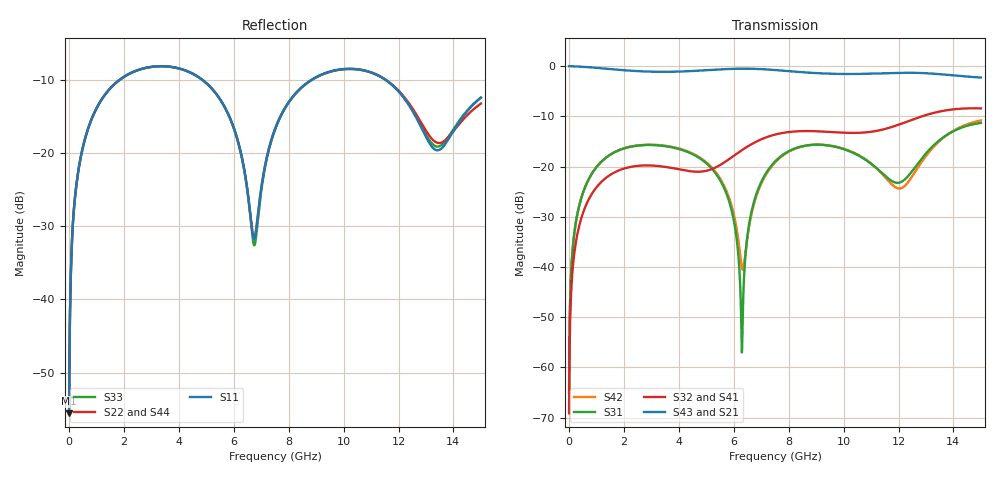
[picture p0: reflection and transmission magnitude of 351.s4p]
! Created with skrf 1.8.0 (http://scikit-rf.org).
# GHz S RI R 50.0
!freq ReS11 ImS11 ReS12 ImS12 ReS13 ImS13
! ReS14 ImS14
! ReS21 ImS21 ReS22 ImS22 ReS23 ImS23
! ReS24 ImS24
! ReS31 ImS31 ReS32 ImS32 ReS33 ImS33
! ReS34 ImS34
! ReS41 ImS41 ReS42 ImS42 ReS43 ImS43
! ReS44 ImS44
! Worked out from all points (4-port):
!   2499 points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, 5 MHz to 15 GHz, reference 50 ohm
!   strongest paths, dB at 5 MHz, 3.476 GHz, 7.19 GHz, 11.1 GHz, 15 GHz:
!     S43: 0.0, -1.1, -0.7, -1.5, -2.3
!     S21: 0.0, -1.1, -0.7, -1.5, -2.3
!     S32: -69.2, -20.0, -14.2, -13.0, -8.4
!     S41: -69.2, -20.1, -14.2, -13.0, -8.4
!     S31: -65.1, -15.9, -21.2, -19.9, -11.3
!     S42: -65.1, -15.8, -21.5, -19.8, -10.8
!   lowest |S11| = -55.5 dB at 5 MHz (marker M1), VSWR 1.00, Z = 50.1 + j0.101 ohm
!   |S11| at or under -10 dB: start of sweep to 1.852 GHz; 4.852 GHz to 8.842 GHz (3.991 GHz wide, 58.3 % of centre); 11.52 GHz to end of sweep
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0.005  0.00133 0.00101  0.9986 -0.0026  6.69e-05 0.000554  -6.49e-05 -0.000343
       0.9986 -0.0026  0.00133 0.00101  -6.49e-05 -0.000343  6.7e-05 0.000554
       6.69e-05 0.000554  -6.49e-05 -0.000343  0.00133 0.00101  0.9986 -0.0026
       -6.49e-05 -0.000343  6.7e-05 0.000554  0.9986 -0.0026  0.00133 0.00101
0.4126719  0.0259 0.0865  0.9641 -0.2118  0.0128 0.043  -0.0106 -0.0262
           0.9641 -0.2118  0.0259 0.0865  -0.0106 -0.0262  0.013 0.043
           0.0128 0.043  -0.0106 -0.0262  0.0259 0.0866  0.9641 -0.2118
           -0.0106 -0.0262  0.013 0.043  0.9641 -0.2118  0.0259 0.0866
1.925802  0.2711 0.1765  0.545 -0.7328  0.1338 0.0656  -0.0938 -0.00522
          0.545 -0.7328  0.2705 0.177  -0.0938 -0.00513  0.1355 0.0632
          0.1338 0.0656  -0.0938 -0.00513  0.2711 0.1766  0.545 -0.7328
          -0.0938 -0.00522  0.1355 0.0632  0.545 -0.7328  0.2705 0.177
6.296373  0.042 -0.0834  -0.9037 -0.2705  -0.00139 -0.00021  -0.0379 0.1405
          -0.9037 -0.2705  0.0429 -0.0817  -0.0369 0.1407  -0.00931 -0.00336
          -0.00139 -0.00021  -0.0369 0.1407  0.0403 -0.0838  -0.9037 -0.2706
          -0.0379 0.1405  -0.00931 -0.00336  -0.9037 -0.2706  0.0446 -0.0812
6.709045  0.0255 -0.00801  -0.9371 -0.079  0.00681 0.0412  -0.0105 0.1701
          -0.9371 -0.079  0.0262 -0.00656  -0.00933 0.1703  -0.000386 0.0397
          0.00681 0.0412  -0.00933 0.1703  0.0233 -0.00818  -0.9371 -0.0791
          -0.0105 0.1701  -0.000386 0.0397  -0.9371 -0.0791  0.0285 -0.00637
10.72947  0.3602 -0.0688  0.1079 0.8308  0.075 -0.0939  0.2063 -0.0663
          0.1079 0.8308  0.361 -0.0602  0.2063 -0.0706  0.0759 -0.0947
          0.075 -0.0939  0.2063 -0.0706  0.3603 -0.062  0.1077 0.831
          0.2063 -0.0663  0.0759 -0.0947  0.1077 0.831  0.3601 -0.0666
15  0.2252 0.0775  0.6706 -0.3771  0.1904 0.1941  -0.2448 -0.2904
    0.6706 -0.3771  0.2097 0.0561  -0.249 -0.2863  0.2347 0.1659
    0.1904 0.1941  -0.249 -0.2863  0.2269 0.0734  0.6711 -0.3766
    -0.2448 -0.2904  0.2347 0.1659  0.6711 -0.3766  0.2071 0.0586
